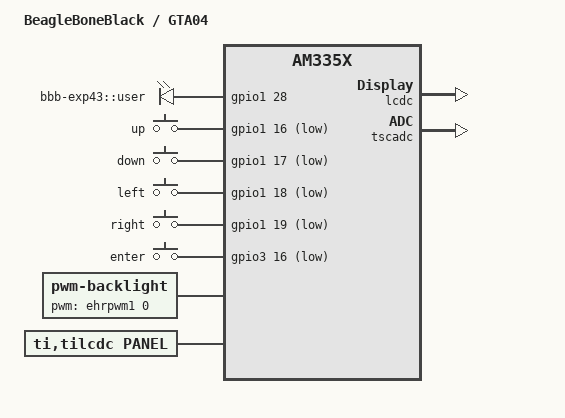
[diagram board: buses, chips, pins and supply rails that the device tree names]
/*
 * Copyright (C) 2014 H. Nikolaus Schaller <hns@goldelico.com>
 *
 * This program is free software; you can redistribute it and/or modify
 * it under the terms of the GNU General Public License version 2 as
 * published by the Free Software Foundation.
 */

#include "am335x-boneblack.dts"
#include <dt-bindings/input/input.h>

/ {

	/* overwrite device model */
	model = "BeagleBoneBlack / GTA04";

/*
 * we assume a Chipsee BBB-EXP43 with 4.3 inch panel, resistive touch and some LEDs and Buttons
 * http://www.chipsee.com/index.php/evm/beagleboard/cs-bbb-exp43.html
 */

/*
user LED gpio1_28
buttons: gpio1_16, 1_17, 1_18, 1_19, 3_16  => up/down/left/right/enter
lcd: 18 bit parallel
enable: GPIO3_19
backlight: EHRPWM1A
touch: internal to am335x
*/

	gpio-leds {

		compatible = "gpio-leds";

		pinctrl-names = "default";
//		pinctrl-0 = <&led_pins>;

		led@user {
			label = "bbb-exp43::user";
			gpios = <&gpio1 28 GPIO_ACTIVE_HIGH>;
			linux,default-trigger = "heartbeat";
			default-state = "on";
		};
	};

	gpio-keys {
		compatible = "gpio-keys";

		pinctrl-names = "default";
//		pinctrl-0 = <&button_pins>;

		up-button {
			label = "up";
			linux,code = <KEY_UP>;
			gpios = <&gpio1 16 GPIO_ACTIVE_LOW>;
			gpio-key,wakeup;
		};

		down-button {
			label = "down";
			linux,code = <KEY_DOWN>;
			gpios = <&gpio1 17 GPIO_ACTIVE_LOW>;
			gpio-key,wakeup;
		};

		left-button {
			label = "left";
			linux,code = <KEY_LEFT>;
			gpios = <&gpio1 18 GPIO_ACTIVE_LOW>;
			gpio-key,wakeup;
		};

		right-button {
			label = "right";
			linux,code = <KEY_RIGHT>;
			gpios = <&gpio1 19 GPIO_ACTIVE_LOW>;
			gpio-key,wakeup;
		};

		pageup-button {
			label = "enter";
			linux,code = <KEY_ENTER>;
			gpios = <&gpio3 16 GPIO_ACTIVE_LOW>;
			gpio-key,wakeup;
		};

	};

	backlight {
		compatible = "pwm-backlight";
		pwms = <&ehrpwm1 0 50000 0>;
		brightness-levels = <0 51 53 56 62 75 101 152 255>;
		default-brightness-level = <8>;
	};

	panel {
		compatible = "ti,tilcdc,panel";
		status = "okay";
		pinctrl-names = "default";
//		pinctrl-0 = <&lcd_pins_s0>;
		panel-info {
			ac-bias           = <255>;
			ac-bias-intrpt    = <0>;
			dma-burst-sz      = <16>;
			bpp               = <32>;
			fdd               = <0x80>;
			sync-edge         = <0>;
			sync-ctrl         = <1>;
			raster-order      = <0>;
			fifo-th           = <0>;
		};

		display-timings {
			800x480p62 {
				clock-frequency = <30000000>;
				hactive = <800>;
				vactive = <480>;
				hfront-porch = <39>;
				hback-porch = <39>;
				hsync-len = <47>;
				vback-porch = <29>;
				vfront-porch = <13>;
				vsync-len = <2>;
				hsync-active = <1>;
				vsync-active = <1>;
			};
		};
	};

};

&lcdc {
	status = "okay";
};

&tscadc {
	status = "okay";

	tsc {
		ti,wires = <4>;
		ti,x-plate-resistance = <600>;
		ti,coordinate-readouts = <5>;
		ti,wire-config = <0x00 0x11 0x22 0x33>;
	};

	adc {
		ti,adc-channels = <4 5 6 7>;
	};
};
